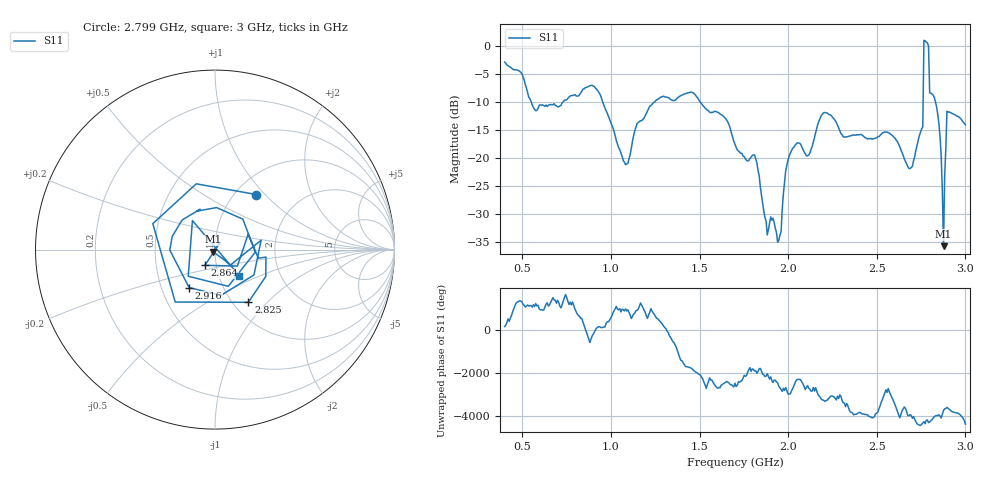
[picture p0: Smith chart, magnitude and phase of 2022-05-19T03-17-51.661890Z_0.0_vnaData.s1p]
!Created with skrf (http://scikit-rf.org).
# Hz S RI R 50.0
!freq ReS11 ImS11
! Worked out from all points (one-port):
!   401 points, 400 MHz to 3 GHz, reference 50 ohm
!   lowest |S11| = -35.8 dB at 2.877 GHz (marker M1), VSWR 1.03, Z = 48.9 - j1.16 ohm
!   |S11| at or under -10 dB: 550.7 MHz to 728.7 MHz (178 MHz wide, 27.8 % of centre); 953.9 MHz to 1.245 GHz (290.9 MHz wide, 26.5 % of centre); 1.504 GHz to 2.761 GHz (1.257 GHz wide, 58.9 % of centre) (the widest 3 of 4)
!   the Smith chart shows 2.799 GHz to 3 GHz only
!   S11 on the Smith chart (normalised r, x): 2.799 GHz: 1.24, +0.89; 2.825 GHz: 1.17, -0.78; 2.864 GHz: 0.88, -0.16; 2.916 GHz: 0.69, -0.31; 3 GHz: 1.25, -0.38
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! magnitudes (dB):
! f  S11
! 400 MHz  -2.8
! 569 MHz  -11.3
! 725 MHz  -10.1
! 907 MHz  -7.2
! 1.05 GHz  -18.5
! 1.089 GHz  -21.0
! 1.226 GHz  -10.6
! 1.375 GHz  -9.2
! 1.7 GHz  -17.5
! 1.81 GHz  -19.5
! 1.875 GHz  -31.3
! 1.947 GHz  -34.8
! 1.992 GHz  -21.3
! 2.025 GHz  -18.3
! 2.116 GHz  -19.5
! 2.207 GHz  -11.9
! 2.35 GHz  -16.0
! 2.571 GHz  -15.5
! 2.675 GHz  -21.5
! 2.747 GHz  -15.4
! 2.779 GHz  0.7
! 2.799 GHz  -8.3
! 2.825 GHz  -9.2
! 2.85 GHz  -13.8
! 2.864 GHz  -19.7
! 2.877 GHz  -35.8
! 2.916 GHz  -11.8
! 3 GHz  -14.0
